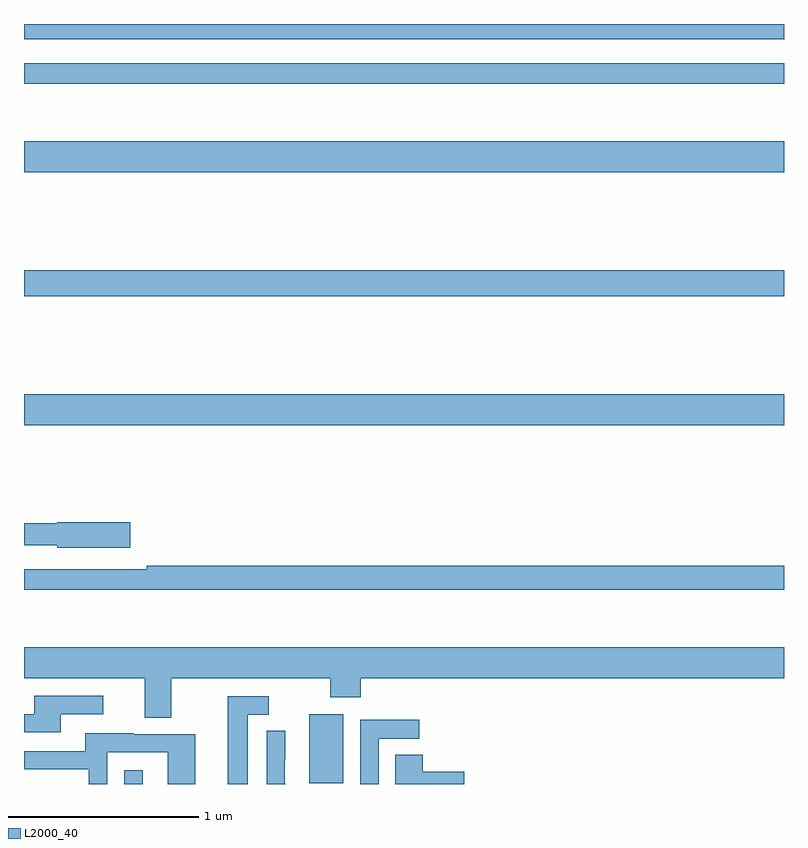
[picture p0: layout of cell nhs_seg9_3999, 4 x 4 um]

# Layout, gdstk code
import gdstk
lib = gdstk.Library(unit=1e-6, precision=1e-09)
def R(c, l, rs):  # rectangles x0, y0, x1, y1
    for r in rs: c.add(gdstk.rectangle(r[:2], r[2:], *l))
def P(c, l, *ps):  # polygons
    for p in ps: c.add(gdstk.Polygon(p, *l))
L2000_40 = (2000, 40)

nhs_seg9_3999 = lib.new_cell('nhs_seg9_3999')
R(nhs_seg9_3999, L2000_40, [(339.528,1226.5,339.625,1226.572), (340.502,1226.505,340.681,1226.866), (339,1228.388,343,1228.552), (339,1229.068,343,1229.204), (339,1229.72,343,1229.884), (339,1230.186,343,1230.294), (339,1230.42,343,1230.5)])
P(nhs_seg9_3999, L2000_40, [(339.559,1227.878),(339.174,1227.878),(339.174,1227.872),(339,1227.872),(339,1227.756),(339.174,1227.756),(339.174,1227.743),(339.559,1227.743)],
  [(343,1227.65),(339.646,1227.65),(339.646,1227.63),(339,1227.63),(339,1227.522),(343,1227.522)],
  [(339.775,1227.056),(340.612,1227.056),(340.612,1226.957),(340.772,1226.957),(340.772,1227.056),(343,1227.056),(343,1227.22),(339,1227.22),(339,1227.056),(339.635,1227.056),(339.635,1226.848),(339.775,1226.848)],
  [(339.193,1226.868),(339.418,1226.868),(339.418,1226.964),(339.053,1226.964),(339.053,1226.868),(339,1226.868),(339,1226.772),(339.193,1226.772)],
  [(340.177,1226.865),(340.288,1226.865),(340.288,1226.961),(340.073,1226.961),(340.073,1226.5),(340.177,1226.5)],
  [(340.866,1226.739),(341.08,1226.739),(341.08,1226.838),(340.77,1226.838),(340.77,1226.5),(340.866,1226.5)],
  [(340.373,1226.504),(340.373,1226.626),(340.374,1226.626),(340.374,1226.78),(340.278,1226.78),(340.278,1226.5),(340.377,1226.5)],
  [(339.438,1226.667),(339.756,1226.667),(339.756,1226.5),(339.901,1226.5),(339.901,1226.763),(339.577,1226.763),(339.577,1226.767),(339.323,1226.767),(339.323,1226.673),(339,1226.673),(339,1226.577),(339.342,1226.577),(339.342,1226.5),(339.438,1226.5)],
  [(341.317,1226.564),(341.099,1226.564),(341.099,1226.654),(340.955,1226.654),(340.955,1226.5),(341.317,1226.5)])

lib.write_gds('nhs_seg9_3999.gds')
